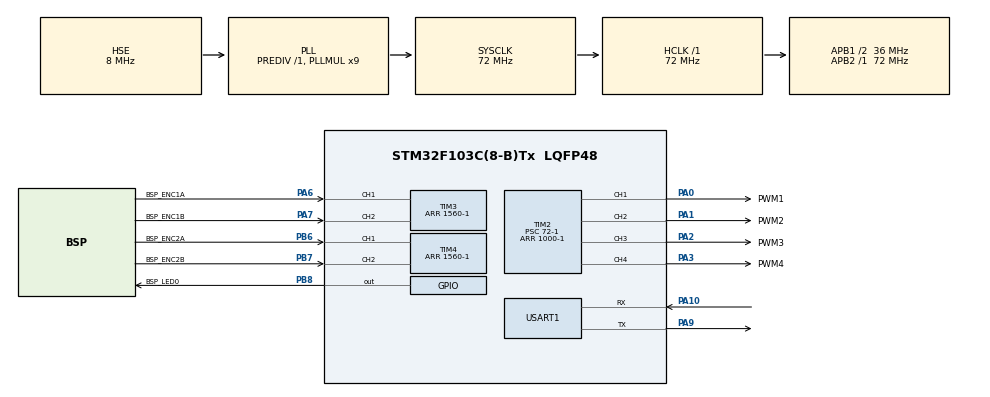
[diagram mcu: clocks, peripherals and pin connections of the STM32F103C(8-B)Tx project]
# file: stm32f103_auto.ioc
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Mcu.Family=STM32F1
Mcu.Name=STM32F103C(8-B)Tx
Mcu.Package=LQFP48
NVIC.PriorityGroup=NVIC_PRIORITYGROUP_4
NVIC.TIM1_UP_IRQn=true\:1\:0\:true\:false\:true\:true\:true
NVIC.USART1_IRQn=true\:0\:0\:true\:false\:true\:true\:true
PA0-WKUP.GPIO_Label=PWM1
PA0-WKUP.GPIO_ModeDefaultPP=GPIO_MODE_AF_PP
PA0-WKUP.GPIO_Speed=GPIO_SPEED_FREQ_HIGH
PA0-WKUP.Signal=S_TIM2_CH1_ETR
PA1.GPIO_Label=PWM2
PA1.GPIO_Speed=GPIO_SPEED_FREQ_HIGH
PA1.Signal=S_TIM2_CH2
PA10.Mode=Asynchronous
PA10.Signal=USART1_RX
PA13.Mode=Serial_Wire
PA13.Signal=SYS_JTMS-SWDIO
PA14.Mode=Serial_Wire
PA14.Signal=SYS_JTCK-SWCLK
PA2.GPIO_Label=PWM3
PA2.GPIO_Speed=GPIO_SPEED_FREQ_HIGH
PA2.Signal=S_TIM2_CH3
PA3.GPIO_Label=PWM4
PA3.GPIO_Speed=GPIO_SPEED_FREQ_HIGH
PA3.Signal=S_TIM2_CH4
PA6.GPIO_Label=BSP_ENC1A
PA6.GPIO_PuPd=GPIO_PULLUP
PA6.Signal=S_TIM3_CH1
PA7.GPIO_Label=BSP_ENC1B
PA7.GPIO_PuPd=GPIO_PULLUP
PA7.Signal=S_TIM3_CH2
PA9.Mode=Asynchronous
PA9.Signal=USART1_TX
PB6.GPIO_Label=BSP_ENC2A
PB6.GPIO_PuPd=GPIO_PULLUP
PB6.Signal=S_TIM4_CH1
PB7.GPIO_Label=BSP_ENC2B
PB7.GPIO_PuPd=GPIO_PULLUP
PB7.Signal=S_TIM4_CH2
PB8.GPIO_Label=BSP_LED0
PB8.GPIO_ModeDefaultOutputPP=GPIO_MODE_OUTPUT_OD
PB8.GPIO_PuPd=GPIO_PULLUP
PB8.PinState=GPIO_PIN_SET
PB8.Signal=GPIO_Output
PD0-OSC_IN.Mode=HSE-External-Oscillator
PD0-OSC_IN.Signal=RCC_OSC_IN
PD1-OSC_OUT.Mode=HSE-External-Oscillator
PD1-OSC_OUT.Signal=RCC_OSC_OUT
ProjectManager.HeapSize=0x200
ProjectManager.StackSize=0x400
ProjectManager.TargetToolchain=MDK-ARM V5
RCC.AHBFreq_Value=72000000
RCC.APB1CLKDivider=RCC_HCLK_DIV2
RCC.APB1Freq_Value=36000000
RCC.APB1TimFreq_Value=72000000
RCC.APB2Freq_Value=72000000
RCC.APB2TimFreq_Value=72000000
RCC.HCLKFreq_Value=72000000
RCC.PLLMUL=RCC_PLL_MUL9
RCC.PLLSourceVirtual=RCC_PLLSOURCE_HSE
RCC.SYSCLKFreq_VALUE=72000000
RCC.SYSCLKSource=RCC_SYSCLKSOURCE_PLLCLK
RCC.USBFreq_Value=72000000
SH.S_TIM2_CH1_ETR.0=TIM2_CH1,PWM Generation1 CH1
SH.S_TIM2_CH2.0=TIM2_CH2,PWM Generation2 CH2
SH.S_TIM2_CH3.0=TIM2_CH3,PWM Generation3 CH3
SH.S_TIM2_CH4.0=TIM2_CH4,PWM Generation4 CH4
SH.S_TIM3_CH1.0=TIM3_CH1,Encoder_Interface
SH.S_TIM3_CH2.0=TIM3_CH2,Encoder_Interface
SH.S_TIM4_CH1.0=TIM4_CH1,Encoder_Interface
SH.S_TIM4_CH2.0=TIM4_CH2,Encoder_Interface
TIM1.AutoReloadPreload=TIM_AUTORELOAD_PRELOAD_ENABLE
TIM1.CounterMode=TIM_COUNTERMODE_DOWN
TIM1.Period=10000-1
TIM1.Prescaler=72-1
TIM2.AutoReloadPreload=TIM_AUTORELOAD_PRELOAD_ENABLE
TIM2.Channel-PWM\ Generation1\ CH1=TIM_CHANNEL_1
TIM2.Channel-PWM\ Generation2\ CH2=TIM_CHANNEL_2
TIM2.Channel-PWM\ Generation3\ CH3=TIM_CHANNEL_3
TIM2.Channel-PWM\ Generation4\ CH4=TIM_CHANNEL_4
TIM2.CounterMode=TIM_COUNTERMODE_DOWN
TIM2.OCFastMode_PWM-PWM\ Generation1\ CH1=TIM_OCFAST_ENABLE
TIM2.OCFastMode_PWM-PWM\ Generation2\ CH2=TIM_OCFAST_ENABLE
TIM2.OCFastMode_PWM-PWM\ Generation3\ CH3=TIM_OCFAST_ENABLE
TIM2.OCFastMode_PWM-PWM\ Generation4\ CH4=TIM_OCFAST_ENABLE
TIM2.Period=1000-1
TIM2.Prescaler=72-1
TIM2.Pulse-PWM\ Generation1\ CH1=0
TIM2.Pulse-PWM\ Generation2\ CH2=500
TIM2.Pulse-PWM\ Generation3\ CH3=0
TIM2.Pulse-PWM\ Generation4\ CH4=500
TIM3.EncoderMode=TIM_ENCODERMODE_TI12
TIM3.IC1Filter=15
TIM3.IC2Filter=15
TIM3.Period=1560-1
TIM4.EncoderMode=TIM_ENCODERMODE_TI12
TIM4.IC1Filter=15
TIM4.IC2Filter=15
TIM4.Period=1560-1
USART1.VirtualMode=VM_ASYNC
VP_TIM1_VS_ClockSourceINT.Mode=Internal
VP_TIM2_VS_ClockSourceINT.Mode=Internal
board=custom

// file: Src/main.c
/* USER CODE BEGIN Header */
/**
  ******************************************************************************
  * @file           : main.c
  * @brief          : Main program body
  ******************************************************************************
  * @attention
  *
  * <h2><center>&copy; Copyright (c) 2019 STMicroelectronics.
  * All rights reserved.</center></h2>
  *
  * This software component is licensed by ST under BSD 3-Clause license,
  * the "License"; You may not use this file except in compliance with the
  * License. You may obtain a copy of the License at:
  *                        opensource.org/licenses/BSD-3-Clause
  *
  ******************************************************************************
  */
/* USER CODE END Header */

#include "main.h"
#include "tim.h"
#include "usart.h"
#include "gpio.h"

/* USER CODE BEGIN Includes */
#include "stdio.h"
#include "../BSP/inc/pwm.h"
#include "../BSP/inc/encoder.h"
#include "../BSP/inc/communicate.h"
#include "../BSP/inc/motion.h"
#include "../BSP/inc/pid.h"
/* USER CODE END Includes */

/* USER CODE BEGIN PM */
#define STM32_ROBOT_VERSION "1.0"
/* USER CODE END PM */

void SystemClock_Config(void);

int main(void)
{

  /* MCU Configuration--------------------------------------------------------*/

  /* Reset of all peripherals, Initializes the Flash interface and the Systick. */
  HAL_Init();

  /* Configure the system clock */
  SystemClock_Config();

  /* USER CODE BEGIN SysInit */
	/****************************************
	 * 		HARDWARE CONFIGURE DESCRIPTION 		*
	 ****************************************

			tim2 for pwm -
				PA0-PA3 : PWM1 - PWM4

			tim1, tim3, tim4 for encoder -
				tim1 :	tim_base
				tim3, tim4 : enc1(A6,A7), enc2(B6,B7)

	*****************************************/
  /* USER CODE END SysInit */

  /* Initialize all configured peripherals */
  MX_GPIO_Init();
  MX_TIM1_Init();
  MX_USART1_UART_Init();
  MX_TIM4_Init();
  MX_TIM2_Init();
  MX_TIM3_Init();
  /* USER CODE BEGIN 2 */
	BSP_COMMUNICATE_INIT();
	BSP_ENCODER_START();
	HAL_Delay(100);
#ifdef STM32_ROBOT_VERSION
	printf("+-----------------------------------------------+\r\n");
	printf("|                                               |\r\n");
	printf("|               STM32 ROBOT V%s                |\r\n",STM32_ROBOT_VERSION);
	printf("|                                               |\r\n");
	printf("+-----------------------------------------------+\r\n");
#endif
	BSP_PWM_SET_RATE(PWM1, 0);
	BSP_PWM_SET_RATE(PWM2, 0);
	BSP_PWM_SET_RATE(PWM3, 0);
	BSP_PWM_SET_RATE(PWM4, 0);
	BSP_PID_CONTROLLER_INIT(&pid_left,0,220,0);
	//BSP_PID_CONTROLLER_INIT(&pid_right,50,0,0);
	printf("[System] Init finish.\r\n");
  /* USER CODE END 2 */

  /* Infinite loop */
  while (1)
  {

    /* USER CODE BEGIN 3 */

		HAL_Delay(10);
		//HAL_GPIO_TogglePin(BSP_LED0_GPIO_Port, BSP_LED0_Pin);
//		printf("Encoder: (%2.2f , %2.2f)\r\n", wheel.left_speed, wheel.right_speed);
//		printf("pid: %lf %lf %lf %lf\r\n",pid_left.err, pid_left.err_1, pid_left.err_2, pid_left.delta);
  }
  /* USER CODE END 3 */
}

void SystemClock_Config(void)
{
  RCC_OscInitTypeDef RCC_OscInitStruct = {0};
  RCC_ClkInitTypeDef RCC_ClkInitStruct = {0};

  /** Initializes the CPU, AHB and APB busses clocks
  */
  RCC_OscInitStruct.OscillatorType = RCC_OSCILLATORTYPE_HSE;
  RCC_OscInitStruct.HSEState = RCC_HSE_ON;
  RCC_OscInitStruct.HSEPredivValue = RCC_HSE_PREDIV_DIV1;
  RCC_OscInitStruct.HSIState = RCC_HSI_ON;
  RCC_OscInitStruct.PLL.PLLState = RCC_PLL_ON;
  RCC_OscInitStruct.PLL.PLLSource = RCC_PLLSOURCE_HSE;
  RCC_OscInitStruct.PLL.PLLMUL = RCC_PLL_MUL9;
  if (HAL_RCC_OscConfig(&RCC_OscInitStruct) != HAL_OK)
  {
    Error_Handler();
  }
  /** Initializes the CPU, AHB and APB busses clocks
  */
  RCC_ClkInitStruct.ClockType = RCC_CLOCKTYPE_HCLK|RCC_CLOCKTYPE_SYSCLK
                              |RCC_CLOCKTYPE_PCLK1|RCC_CLOCKTYPE_PCLK2;
  RCC_ClkInitStruct.SYSCLKSource = RCC_SYSCLKSOURCE_PLLCLK;
  RCC_ClkInitStruct.AHBCLKDivider = RCC_SYSCLK_DIV1;
  RCC_ClkInitStruct.APB1CLKDivider = RCC_HCLK_DIV2;
  RCC_ClkInitStruct.APB2CLKDivider = RCC_HCLK_DIV1;

  if (HAL_RCC_ClockConfig(&RCC_ClkInitStruct, FLASH_LATENCY_2) != HAL_OK)
  {
    Error_Handler();
  }
}

void Error_Handler(void)
{
}

/************************ (C) COPYRIGHT STMicroelectronics *****END OF FILE****/
